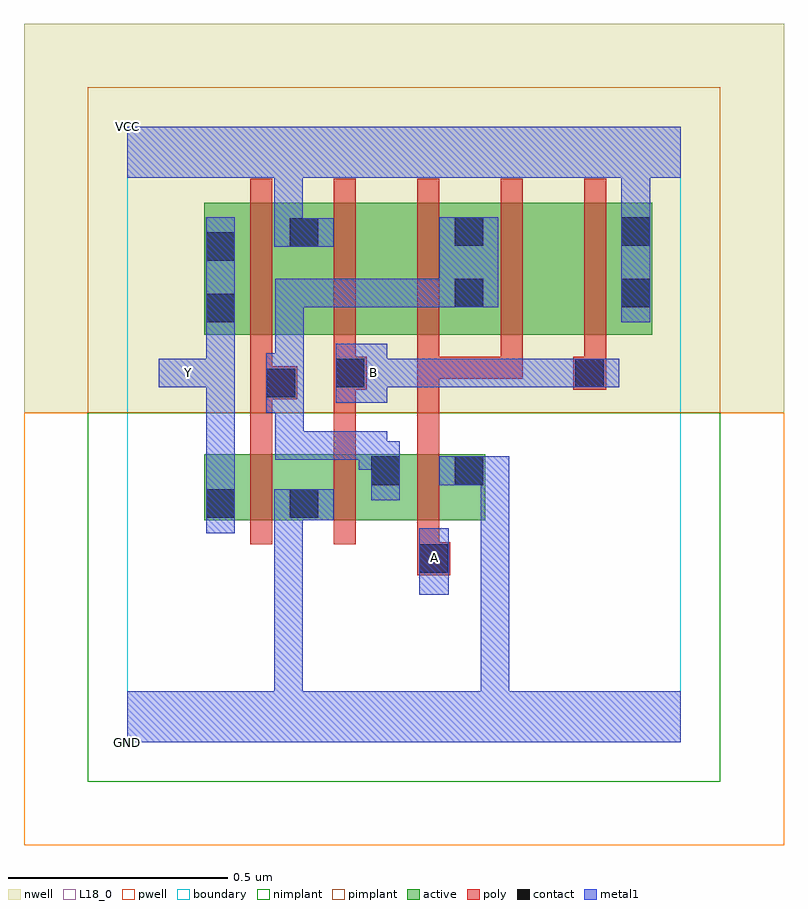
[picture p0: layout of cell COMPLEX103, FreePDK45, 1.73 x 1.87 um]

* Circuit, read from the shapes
.subckt COMPLEX103 A B GND VCC Y
M1 GND n1 Y VSUBS nfet w=0.15u l=0.05u
M2 n1 B GND VSUBS nfet w=0.15u l=0.05u
M3 GND A n1 VSUBS nfet w=0.15u l=0.05u
M4 VCC n1 Y n2 pfet w=0.3u l=0.05u
M5 n3 B VCC n2 pfet w=0.3u l=0.05u
M6 n1 A n3 n2 pfet w=0.3u l=0.05u
M7 n4 A n1 n2 pfet w=0.3u l=0.05u
M8 VCC B n4 n2 pfet w=0.3u l=0.05u
.ends

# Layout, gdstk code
import gdstk
lib = gdstk.Library(unit=1e-6, precision=1e-09)
def R(c, l, rs):  # rectangles x0, y0, x1, y1
    for r in rs: c.add(gdstk.rectangle(r[:2], r[2:], *l))
def A(c, l, x, y, w, h, nx, ny, dx, dy):  # array of equal rectangles
    R(c, l, [(x+i*dx, y+j*dy, x+i*dx+w, y+j*dy+h) for i in range(nx) for j in range(ny)])
active = (1, 0)
pwell = (2, 0)
nwell = (3, 0)
nimplant = (4, 0)
pimplant = (5, 0)
poly = (9, 0)
contact = (10, 0)
metal1 = (11, 0)
L18_0 = (18, 0)
boundary = (235, 0)

complex103 = lib.new_cell('COMPLEX103')
R(complex103, active, [(0.175,0.505,0.25,0.655), (0.175,0.505,0.44,0.655), (0.365,0.505,0.625,0.655), (0.365,0.505,0.44,0.58), (0.55,0.505,0.625,0.655), (0.55,0.505,0.815,0.655), (0.74,0.505,0.815,0.655), (0.175,0.927,0.25,1.2), (0.175,0.927,0.44,1.227), (0.365,0.927,0.59,1.227), (0.59,0.927,0.815,1.227), (0.74,0.927,0.815,1.2), (0.74,0.927,0.97,1.227), (0.97,0.927,1.195,1.227), (1.12,0.927,1.195,1.2), (0.365,1.007,0.44,1.227)])
R(complex103, pwell, [(-0.235,-0.235,1.495,0.75)])
R(complex103, nwell, [(-0.235,0.75,1.495,1.635)])
R(complex103, nimplant, [(-0.09,-0.09,1.35,0.75)])
R(complex103, pimplant, [(-0.09,0.75,1.35,1.49)])
A(complex103, poly, 0.28, 0.45, 0.05, 0.26, 3, 1, 0.19, 0)
A(complex103, poly, 0.47, 0.827, 0.05, 0.095, 4, 1, 0.19, 0)
A(complex103, poly, 0.28, 0.872, 0.05, 0.41, 5, 1, 0.19, 0)
R(complex103, poly, [(0.66,0.38,0.735,0.455), (0.66,0.405,0.71,0.5), (0.28,0.66,0.33,0.83), (0.47,0.66,0.52,0.852), (0.66,0.66,0.71,0.877), (0.28,0.78,0.387,0.855), (0.47,0.802,0.545,0.877), (1.015,0.802,1.09,0.877), (0.28,0.805,0.33,0.922), (0.66,0.827,0.9,0.877), (0.66,0.827,0.71,0.877), (0.66,0.827,0.71,0.877), (0.66,0.827,0.71,0.877), (0.85,0.827,0.9,0.877)])
R(complex103, contact, [(0.665,0.385,0.73,0.45), (0.18,0.51,0.245,0.575), (0.37,0.51,0.435,0.575), (0.555,0.585,0.62,0.65), (0.745,0.585,0.81,0.65), (0.317,0.785,0.382,0.85), (0.475,0.807,0.54,0.872), (1.02,0.807,1.085,0.872), (0.18,0.955,0.245,1.02), (0.745,0.99,0.81,1.055), (1.125,0.99,1.19,1.055), (0.18,1.095,0.245,1.16), (0.37,1.127,0.435,1.192), (0.745,1.13,0.81,1.195), (1.125,1.13,1.19,1.195)])
R(complex103, metal1, [(0,0,1.26,0.115), (0.335,0.05,0.4,0.115), (0.335,0.05,0.4,0.115), (0.335,0.05,0.4,0.115), (0.335,0.05,0.4,0.115), (0.335,0.05,0.4,0.57), (0.805,0.05,0.87,0.65), (0.665,0.335,0.732,0.487), (0.18,0.475,0.245,0.61), (0.335,0.505,0.4,0.57), (0.335,0.505,0.4,0.57), (0.335,0.505,0.47,0.575), (0.18,0.545,0.245,0.872), (0.555,0.55,0.62,0.685), (0.71,0.585,0.87,0.65), (0.805,0.585,0.87,0.65), (0.805,0.585,0.87,0.65), (0.805,0.585,0.87,0.65), (0.805,0.585,0.87,0.65), (0.805,0.585,0.87,0.65), (0.805,0.585,0.87,0.65), (0.527,0.62,0.62,0.685), (0.527,0.62,0.592,0.707), (0.337,0.642,0.402,0.707), (0.337,0.642,0.592,0.707), (0.337,0.642,0.402,0.885), (0.317,0.75,0.382,0.885), (0.475,0.772,0.592,0.907), (0.072,0.807,0.245,0.872), (0.18,0.807,0.245,0.985), (0.527,0.807,0.592,0.872), (0.527,0.807,0.592,0.872), (0.527,0.807,0.775,0.872), (0.71,0.807,0.775,0.872), (0.71,0.807,0.775,0.872), (0.71,0.807,0.775,0.872), (0.71,0.807,0.912,0.872), (0.847,0.807,0.912,0.872), (0.847,0.807,0.912,0.872), (0.847,0.807,0.912,0.872), (0.847,0.807,1.05,0.872), (0.985,0.807,1.12,0.872), (0.317,0.82,0.402,0.885), (0.337,0.82,0.402,0.885), (0.337,0.82,0.402,1.055), (0.18,0.92,0.245,1.195), (1.125,0.955,1.19,1.23), (0.337,0.99,0.402,1.055), (0.337,0.99,0.592,1.055), (0.527,0.99,0.592,1.055), (0.527,0.99,0.592,1.055), (0.527,0.99,0.592,1.055), (0.527,0.99,0.775,1.055), (0.71,0.99,0.775,1.055), (0.71,0.99,0.775,1.055), (0.71,0.99,0.845,1.195), (0.335,1.127,0.4,1.192), (0.335,1.127,0.4,1.192), (0.335,1.127,0.47,1.192), (0.335,1.127,0.4,1.35), (1.125,1.165,1.19,1.23), (1.125,1.165,1.19,1.23), (1.125,1.165,1.19,1.35), (0,1.285,1.26,1.4)])
R(complex103, L18_0, [(0,0,1.26,0.115), (0.335,0.05,0.4,0.115), (0.335,0.05,0.4,0.115), (0.335,0.05,0.4,0.115), (0.335,0.05,0.4,0.115), (0.335,0.05,0.4,0.57), (0.805,0.05,0.87,0.65), (0.665,0.335,0.732,0.487), (0.667,0.387,0.732,0.452), (0.18,0.475,0.245,0.61), (0.335,0.505,0.4,0.57), (0.335,0.505,0.4,0.57), (0.335,0.505,0.47,0.575), (0.18,0.545,0.245,0.872), (0.71,0.585,0.87,0.65), (0.805,0.585,0.87,0.65), (0.805,0.585,0.87,0.65), (0.805,0.585,0.87,0.65), (0.805,0.585,0.87,0.65), (0.805,0.585,0.87,0.65), (0.805,0.585,0.87,0.65), (0.475,0.772,0.592,0.907), (0.072,0.807,0.245,0.872), (0.107,0.807,0.172,0.872), (0.18,0.807,0.245,0.985), (0.527,0.807,0.592,0.872), (0.527,0.807,0.592,0.872), (0.527,0.807,0.592,0.872), (0.527,0.807,0.775,0.872), (0.71,0.807,0.775,0.872), (0.71,0.807,0.775,0.872), (0.71,0.807,0.775,0.872), (0.71,0.807,0.912,0.872), (0.847,0.807,0.912,0.872), (0.847,0.807,0.912,0.872), (0.847,0.807,0.912,0.872), (0.847,0.807,1.05,0.872), (0.985,0.807,1.12,0.872), (0.18,0.92,0.245,1.195), (1.125,0.955,1.19,1.23), (0.335,1.127,0.4,1.192), (0.335,1.127,0.4,1.192), (0.335,1.127,0.47,1.192), (0.335,1.127,0.4,1.35), (1.125,1.165,1.19,1.23), (1.125,1.165,1.19,1.23), (1.125,1.165,1.19,1.35), (0,1.285,1.26,1.4)])
R(complex103, boundary, [(0,0,1.26,1.4)])
complex103.add(gdstk.Label('A', (0.7,0.42), layer=11, texttype=0))
complex103.add(gdstk.Label('B', (0.56,0.84), layer=11, texttype=0))
complex103.add(gdstk.Label('Y', (0.14,0.84), layer=11, texttype=0))
complex103.add(gdstk.Label('VCC', (0,1.4), layer=11, texttype=0))
complex103.add(gdstk.Label('GND', (0,0), layer=11, texttype=0))

lib.write_gds('COMPLEX103.gds')
